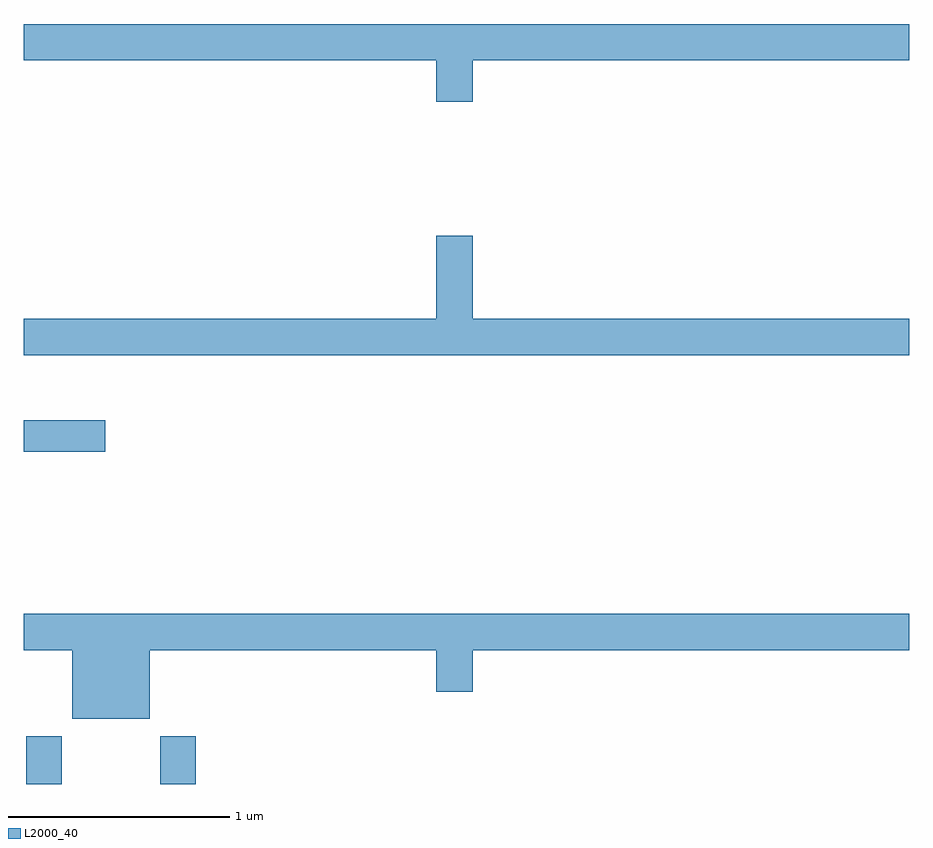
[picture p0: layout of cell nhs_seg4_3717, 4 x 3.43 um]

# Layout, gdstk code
import gdstk
lib = gdstk.Library(unit=1e-6, precision=1e-09)
def R(c, l, rs):  # rectangles x0, y0, x1, y1
    for r in rs: c.add(gdstk.rectangle(r[:2], r[2:], *l))
def P(c, l, *ps):  # polygons
    for p in ps: c.add(gdstk.Polygon(p, *l))
L2000_40 = (2000, 40)

nhs_seg4_3717 = lib.new_cell('nhs_seg4_3717')
R(nhs_seg4_3717, L2000_40, [(307.013,778.9,307.173,779.116), (307.618,778.9,307.778,779.116), (307,780.401,307.369,780.543)])
P(nhs_seg4_3717, L2000_40, [(309.028,782.168),(311,782.168),(311,782.332),(307,782.332),(307,782.168),(308.864,782.168),(308.864,781.98),(309.028,781.98)],
  [(311,781),(309.028,781),(309.028,781.375),(308.864,781.375),(308.864,781),(307,781),(307,780.836),(311,780.836)],
  [(307.57,779.504),(308.864,779.504),(308.864,779.316),(309.028,779.316),(309.028,779.504),(311,779.504),(311,779.668),(307,779.668),(307,779.504),(307.22,779.504),(307.22,779.195),(307.57,779.195)])

lib.write_gds('nhs_seg4_3717.gds')
